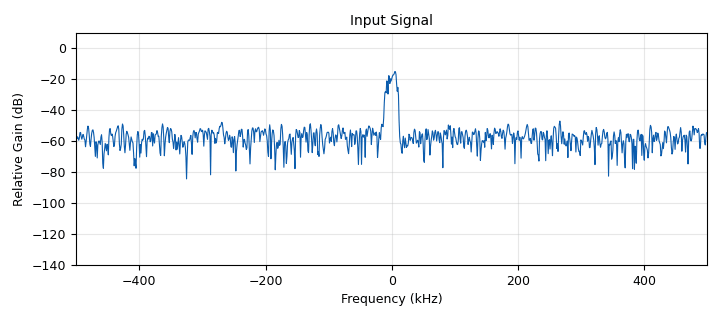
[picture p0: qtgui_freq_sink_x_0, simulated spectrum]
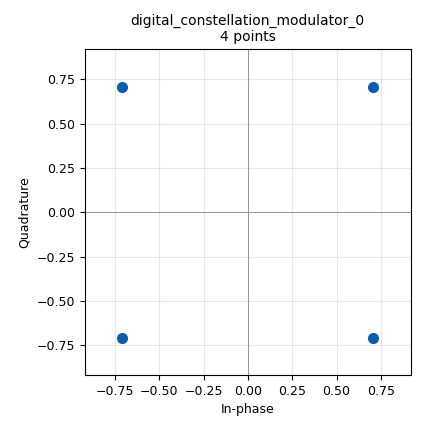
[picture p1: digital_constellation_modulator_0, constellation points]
<?xml version='1.0' encoding='utf-8'?>
<?grc format='1' created='3.7.12'?>
<flow_graph>
<block>
<key>options</key>
<param><key>id</key><value>top_block</value></param>
<param><key>generate_options</key><value>qt_gui</value></param>
</block>
<block>
<key>variable_qtgui_range</key>
<param><key>id</key><value>cfreq</value></param>
<param><key>value</key><value>0.0</value></param>
<param><key>label</key><value>Carrier Frequency</value></param>
<param><key>orient</key><value>Qt.Horizontal</value></param>
<param><key>start</key><value>-samp_rate/2</value></param>
<param><key>step</key><value>100</value></param>
<param><key>stop</key><value>samp_rate/2</value></param>
</block>
<block>
<key>variable_constellation</key>
<param><key>id</key><value>dqpsk</value></param>
<param><key>type</key><value>dqpsk</value></param>
<param><key>precision</key><value>8</value></param>
</block>
<block>
<key>variable</key>
<param><key>id</key><value>samp_rate</value></param>
<param><key>value</key><value>1e6</value></param>
</block>
<block>
<key>analog_fastnoise_source_x</key>
<param><key>id</key><value>analog_fastnoise_source_x_0</value></param>
<param><key>amp</key><value>0.1</value></param>
<param><key>noise_type</key><value>analog.GR_GAUSSIAN</value></param>
<param><key>type</key><value>complex</value></param>
<param><key>seed</key><value>0</value></param>
<param><key>samples</key><value>8192</value></param>
</block>
<block>
<key>analog_random_source_x</key>
<param><key>id</key><value>analog_random_source_x_0</value></param>
<param><key>max</key><value>256</value></param>
<param><key>min</key><value>0</value></param>
<param><key>num_samps</key><value>1000</value></param>
<param><key>type</key><value>byte</value></param>
<param><key>repeat</key><value>True</value></param>
</block>
<block>
<key>analog_sig_source_x</key>
<param><key>id</key><value>analog_sig_source_x_0</value></param>
<param><key>amp</key><value>1</value></param>
<param><key>freq</key><value>cfreq</value></param>
<param><key>offset</key><value>0</value></param>
<param><key>type</key><value>complex</value></param>
<param><key>samp_rate</key><value>samp_rate</value></param>
<param><key>waveform</key><value>analog.GR_COS_WAVE</value></param>
</block>
<block>
<key>blocks_add_xx</key>
<param><key>id</key><value>blocks_add_xx_0</value></param>
<param><key>type</key><value>complex</value></param>
</block>
<block>
<key>blocks_multiply_xx</key>
<param><key>id</key><value>blocks_multiply_xx_0</value></param>
<param><key>type</key><value>complex</value></param>
</block>
<block>
<key>blocks_multiply_xx</key>
<param><key>id</key><value>blocks_multiply_xx_0_0</value></param>
<param><key>type</key><value>complex</value></param>
</block>
<block>
<key>blocks_throttle</key>
<param><key>id</key><value>blocks_throttle_0</value></param>
<param><key>samples_per_second</key><value>samp_rate</value></param>
<param><key>type</key><value>complex</value></param>
</block>
<block>
<key>digital_constellation_modulator</key>
<param><key>id</key><value>digital_constellation_modulator_0</value></param>
<param><key>constellation</key><value>dqpsk</value></param>
<param><key>differential</key><value>True</value></param>
<param><key>excess_bw</key><value>0.35</value></param>
<param><key>samples_per_symbol</key><value>60</value></param>
</block>
<block>
<key>qtgui_freq_sink_x</key>
<param><key>id</key><value>qtgui_freq_sink_x_0</value></param>
<param><key>bw</key><value>samp_rate</value></param>
<param><key>fc</key><value>0</value></param>
<param><key>fftsize</key><value>1024</value></param>
<param><key>name</key><value>"Input Signal"</value></param>
<param><key>showports</key><value>True</value></param>
<param><key>type</key><value>complex</value></param>
<param><key>wintype</key><value>firdes.WIN_BLACKMAN_hARRIS</value></param>
</block>
<block>
<key>qtgui_freq_sink_x</key>
<param><key>id</key><value>qtgui_freq_sink_x_0_0</value></param>
<param><key>bw</key><value>samp_rate</value></param>
<param><key>fc</key><value>0</value></param>
<param><key>fftsize</key><value>1024</value></param>
<param><key>label1</key><value>Carrierlock</value></param>
<param><key>label2</key><value>Correction Frequency</value></param>
<param><key>name</key><value>"Carrier-locked signal"</value></param>
<param><key>nconnections</key><value>2</value></param>
<param><key>showports</key><value>True</value></param>
<param><key>type</key><value>complex</value></param>
<param><key>wintype</key><value>firdes.WIN_BLACKMAN_hARRIS</value></param>
</block>
<block>
<key>samplewise_phasediff_carriersync_phasediff_carriersync</key>
<param><key>id</key><value>samplewise_phasediff_carriersync_phasediff_carriersync_0</value></param>
<param><key>alpha</key><value>1e-4</value></param>
<param><key>phasediff</key><value>0</value></param>
<param><key>phase</key><value>0</value></param>
</block>
<connection><source_block_id>analog_fastnoise_source_x_0</source_block_id><sink_block_id>blocks_add_xx_0</sink_block_id><source_key>0</source_key><sink_key>0</sink_key></connection>
<connection><source_block_id>analog_random_source_x_0</source_block_id><sink_block_id>digital_constellation_modulator_0</sink_block_id><source_key>0</source_key><sink_key>0</sink_key></connection>
<connection><source_block_id>analog_sig_source_x_0</source_block_id><sink_block_id>blocks_multiply_xx_0</sink_block_id><source_key>0</source_key><sink_key>0</sink_key></connection>
<connection><source_block_id>blocks_add_xx_0</source_block_id><sink_block_id>blocks_multiply_xx_0</sink_block_id><source_key>0</source_key><sink_key>1</sink_key></connection>
<connection><source_block_id>blocks_multiply_xx_0</source_block_id><sink_block_id>blocks_multiply_xx_0_0</sink_block_id><source_key>0</source_key><sink_key>0</sink_key></connection>
<connection><source_block_id>blocks_multiply_xx_0</source_block_id><sink_block_id>qtgui_freq_sink_x_0</sink_block_id><source_key>0</source_key><sink_key>0</sink_key></connection>
<connection><source_block_id>blocks_multiply_xx_0</source_block_id><sink_block_id>samplewise_phasediff_carriersync_phasediff_carriersync_0</sink_block_id><source_key>0</source_key><sink_key>0</sink_key></connection>
<connection><source_block_id>blocks_multiply_xx_0_0</source_block_id><sink_block_id>qtgui_freq_sink_x_0_0</sink_block_id><source_key>0</source_key><sink_key>0</sink_key></connection>
<connection><source_block_id>blocks_throttle_0</source_block_id><sink_block_id>blocks_add_xx_0</sink_block_id><source_key>0</source_key><sink_key>1</sink_key></connection>
<connection><source_block_id>digital_constellation_modulator_0</source_block_id><sink_block_id>blocks_throttle_0</sink_block_id><source_key>0</source_key><sink_key>0</sink_key></connection>
<connection><source_block_id>samplewise_phasediff_carriersync_phasediff_carriersync_0</source_block_id><sink_block_id>blocks_multiply_xx_0_0</sink_block_id><source_key>0</source_key><sink_key>1</sink_key></connection>
<connection><source_block_id>samplewise_phasediff_carriersync_phasediff_carriersync_0</source_block_id><sink_block_id>qtgui_freq_sink_x_0_0</sink_block_id><source_key>0</source_key><sink_key>1</sink_key></connection>
</flow_graph>
